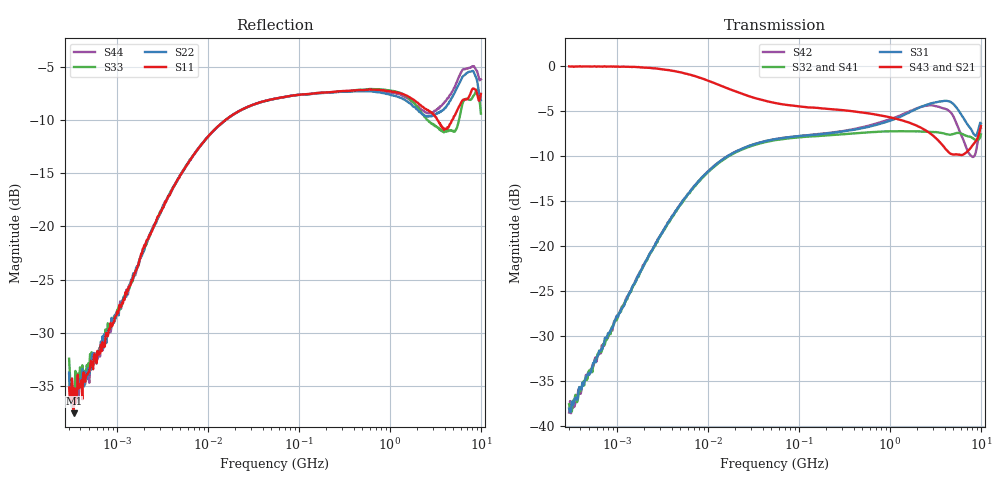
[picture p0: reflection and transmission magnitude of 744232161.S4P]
! This data is being provided by Wuerth Elektronik eiSos GmbH & Co. KG to the industry for analysis.
! Document information:
! Version:rev19a Date: 16/12/2019
! Component information:
! Match Code: WE-CNSW P/N: 744232161 Size: 1206
! Disclaimer:  While Würth Elektronik eiSos has made every reasonable effort to ensure the accuracy
! of the information provided, Würth Elektronik eiSos does not guarantee the exemption of error on the
! data collection measurements, nor does Würth Elektronik eiSos guarantee that the information is current.
! Würth Elektronik eiSos reserves the right to make any adjustments at any time without notice.
! Würth Elektronik eiSos expressly disclaims all implied warranties regarding this measurement data collection.
! Note 1  This data measurement is representative according to the product implementation into the fixture.
! Component behavior is sensitive to implementation into the fixture, which includes board
! materials, trace geometry information, connector pin out, layer connection, use of de-embedding
! techniques, etc.
! Note 2 - The fixture was designed specifically to match the 50 Ohm line impedance, as well as the connector impedance,
! in order to accomplish a reliable measurement without reflections in the trace. Any other implementation of the fixture will change the obtained
! measurement performance. The used fixture behavior was de-embedded to accomplish reliable measurement results.
! The test setup consisted of the following:
!  - Agilent VNA E5071C or E5071B
!  - Calibrations are SOLT (short open load thru)
!  - De-embedding of the SMA's or line cards were included
!  - Equipment Settings -
!  - Sampling - 501 points
!  - IF BW  70 kHz
!  - Averaging  Not used
!  Port 1----->|1|  |2| -----> Port 3
!  |  DUT  |
!  Port 2----->|3|  |4| -----> Port 4
!*VNA Port --> |Port in Datasheet|
! |Port in Datasheet| --> VNA Port
! For further information regarding this testing, please contact
! Wuerth Elektronik eiSos
! Contact: EDA team in QDC
! Email: libraries@we-online.com or libraries@we-online.de
# Hz S dB R 50
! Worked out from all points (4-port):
!   501 points, 300 kHz to 10 GHz, reference 50 ohm
!   strongest paths, dB at 300 kHz, 4.054 MHz, 54.77 MHz, 740.1 MHz, 10 GHz:
!     S43: 0.0, -0.5, -4.1, -5.4, -6.7
!     S21: 0.0, -0.5, -4.1, -5.3, -6.6
!     S31: -38.1, -16.7, -8.1, -6.5, -6.3
!     S32: -37.6, -16.8, -8.2, -7.3, -7.6
!     S41: -38.7, -16.8, -8.2, -7.2, -8.2
!     S42: -38.5, -16.7, -8.1, -6.3, -6.9
!   lowest |S11| = -37.5 dB at 336.7 kHz (marker M1), VSWR 1.03, Z = 50 + j1.32 ohm
!   |S11| at or under -10 dB: start of sweep to 15.7 MHz; 3.331 GHz to 4.85 GHz (1.519 GHz wide, 37.1 % of centre)
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300000  -35.12 85.6  -0.02 -0.6  -37.99 86.1  -38.17 -93.8
        -0.03 -0.9  -33.73 99.4  -38.45 -93.6  -38.79 86.9
        -38.09 90.0  -37.64 -95.4  -32.43 101.0  -0.03 -0.8
        -38.68 -95.1  -38.53 79.3  -0.01 -0.8  -33.89 103.1
336674  -37.55 91.2  -0.04 -0.7  -36.80 94.6  -37.87 -92.9
        -0.04 -0.7  -36.55 80.6  -37.39 -91.0  -37.04 86.1
        -37.49 90.0  -37.15 -93.1  -36.08 92.3  -0.04 -0.9
        -37.14 -92.9  -37.91 83.4  -0.06 -0.8  -35.48 98.1
1.505649e7  -10.13 34.4  -2.29 -13.8  -10.23 35.3  -10.32 -145.7
            -2.30 -13.8  -10.14 34.4  -10.33 -145.5  -10.25 35.2
            -10.26 35.3  -10.35 -145.5  -10.14 34.4  -2.29 -13.8
            -10.35 -145.5  -10.25 35.4  -2.29 -13.8  -10.14 34.5
7.739338e8  -7.18 -9.7  -5.36 -31.4  -6.41 4.9  -7.20 150.7
            -5.37 -31.4  -7.42 -9.6  -7.27 149.9  -6.26 4.1
            -6.42 5.0  -7.28 149.9  -7.12 -10.8  -5.46 -31.3
            -7.21 150.7  -6.26 4.2  -5.45 -31.3  -7.25 -9.3
2.497701e9  -8.98 -32.2  -7.30 -90.8  -4.31 -11.1  -7.38 82.7
            -7.31 -90.8  -9.62 -26.2  -7.27 81.0  -4.41 -16.4
            -4.31 -11.0  -7.28 81.1  -9.84 -33.9  -7.16 -89.1
            -7.39 82.8  -4.40 -16.5  -7.16 -89.2  -9.30 -22.8
5.24302e9  -9.47 -28.4  -10.08 173.3  -4.43 -48.4  -7.59 -2.2
           -10.09 173.4  -7.30 -23.7  -7.48 -3.4  -6.06 -55.6
           -4.45 -48.2  -7.46 -3.2  -11.02 -19.8  -9.81 177.1
           -7.61 -2.0  -6.06 -55.7  -9.80 177.0  -6.77 -22.3
1e10  -7.56 -85.2  -6.70 20.5  -6.31 -91.8  -8.19 -156.1
      -6.61 21.1  -8.16 -100.2  -7.66 -161.8  -6.89 -77.4
      -6.35 -91.2  -7.58 -161.1  -9.41 -72.5  -6.77 26.3
      -8.21 -155.7  -6.85 -77.0  -6.65 26.6  -6.20 -90.6
